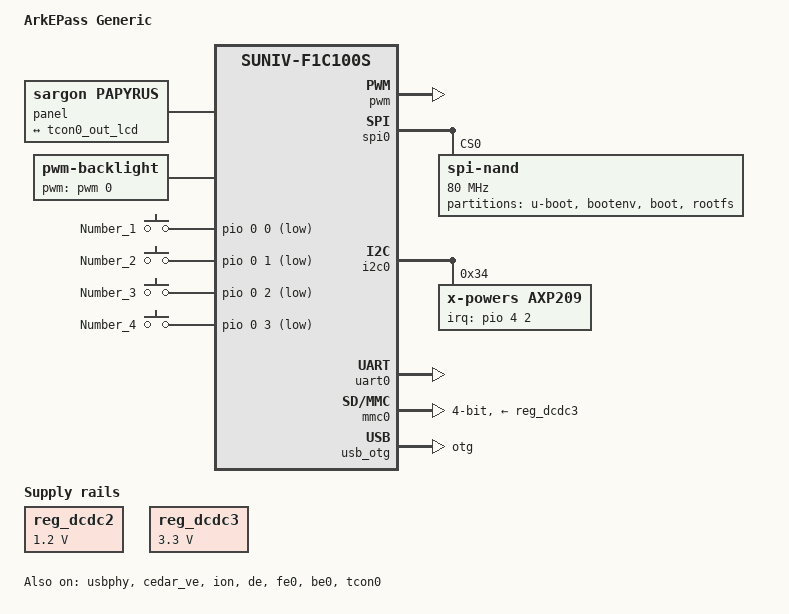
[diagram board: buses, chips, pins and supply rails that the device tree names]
// SPDX-License-Identifier: (GPL-2.0+ OR X11)

/dts-v1/;
#include "suniv-f1c100s.dtsi"
#include <dt-bindings/input/input.h>
#include <dt-bindings/gpio/gpio.h>
#include <dt-bindings/interrupt-controller/irq.h>
#include <dt-bindings/display/st7701initseq.h>

/ {
	model = "ArkEPass Generic";
	compatible = "rhodesisland,electric-pass",
	         "allwinner,suniv-f1c200s",
			 "allwinner,suniv-f1c100s";

	chosen {
		#address-cells = <1>;
		#size-cells = <1>;
		ranges;

		// this bootargs will not work. change bootargs in uboot!
		bootargs = "i luv papyrus";

	};

	panel: panel {
		compatible = "sargon,papyrus", "simple-panel";	// 720x1280 3.5 inch

		#address-cells = <1>;
		#size-cells = <0>;

		port@0 {
			reg = <0>;
			#address-cells = <1>;
			#size-cells = <0>;

			panel_input: endpoint@0 {
				reg = <0>;
				remote-endpoint = <&tcon0_out_lcd>;
			};
		};
	};

	backlight {
		compatible = "pwm-backlight";
		pwms = <&pwm 0 10000 0>;
		

		brightness-levels = <0 4 8 16 32 64 128 196 220 255>;
		default-brightness-level = <6>;
	};

	// reserved-memory {
    //       #address-cells = <1>;
    //       #size-cells = <1>;
    //       ranges;
	// 	  cedar_reserved: cedar_reserved@80100000 {
	// 			compatible = "shared-dma-pool";
	// 			reg = <0x80100000 0xc0000>;
	// 			no-map;
	// 		};
	// };

	st7701initseq: st7701initseq {
		compatible = "lattland,st7701-initseq";
		srgn,mipi-bridge-mode;
		sda-gpios = <&pio 4 4 GPIO_ACTIVE_HIGH>;
		scl-gpios = <&pio 4 6 GPIO_ACTIVE_HIGH>;
		cs-gpios = <&pio 4 3 GPIO_ACTIVE_HIGH>;
		rst-gpios = <&pio 4 11 GPIO_ACTIVE_HIGH>;
		status = "disabled";
	};

	buttons {
		compatible = "gpio-keys-polled";
		poll-interval = <100>;

		button-0 {
			label = "Number_1";
			linux,code = <KEY_1>;
			gpios = <&pio 0 0 GPIO_ACTIVE_LOW>;
		};

		button-1 {
			label = "Number_2";
			linux,code = <KEY_2>;
			gpios = <&pio 0 1 GPIO_ACTIVE_LOW>;
		};

		button-2 {
			label = "Number_3";
			linux,code = <KEY_3>;
			gpios = <&pio 0 2 GPIO_ACTIVE_LOW>;
		};

		button-3 {
			label = "Number_4";
			linux,code = <KEY_4>;
			gpios = <&pio 0 3 GPIO_ACTIVE_LOW>;
		};
	};
};

&pio{
	spi1_pins: spi1-pins {
		pins = "PE7","PE8", "PE9", "PE10";
		function = "spi1";
		bias-pull-up;
	};    
};

&pwm {
	pinctrl-names = "default";
	pinctrl-0 = <&pwm0_pe_pins>;
	status = "okay";
};

&spi0 {
	status = "okay";

	spi-nand@0 {
		#address-cells = <1>;
		#size-cells = <1>;
		compatible = "spi-nand";
		reg = <0>;
		spi-max-frequency = <80000000>;
		status = "okay";

		partitions {
			compatible = "fixed-partitions";
			#address-cells = <1>;
			#size-cells = <1>;

			partition@0 {
				label = "u-boot";
				reg = <0x000000 0x0e0000>;
				read-only;
			};

			partition@e0000 {
				label = "bootenv";
				reg = <0x0e0000 0x020000>;
			};

			partition@100000 {
				label = "boot";
				reg = <0x100000 0x600000>;
			};

			partition@700000 {
				label = "rootfs";
				reg = <0x700000 0x7900000>;
			};
		};
	};
};

&i2c0 {
	pinctrl-names = "default";
	pinctrl-0 = <&i2c0_pd_pins>;
	status = "okay";

	axp209: pmic@34 {
		compatible = "x-powers,axp209";
		reg = <0x34>;
		interrupt-parent = <&pio>;
		interrupts = <4 2 IRQ_TYPE_LEVEL_LOW>;
		interrupt-controller;
		#interrupt-cells = <1>;
	};
};

#include "axp209.dtsi"

&reg_dcdc2 {
	regulator-min-microvolt = <1200000>;
	regulator-max-microvolt = <1200000>;
	regulator-always-on;
};

&reg_dcdc3 {
	regulator-min-microvolt = <3300000>;
	regulator-max-microvolt = <3300000>;
	regulator-always-on;
};

&spi1 {
	pinctrl-names = "default";
	pinctrl-0 = <&spi1_pins>;
	status = "disabled";
	spidev@0 {
	   compatible = "rohm,dh2228fv";	/* Same as "spidev" but without errors at boot. Search "buggy DT" to understand */
	   spi-max-frequency = <80000000>;
	   reg = <0>;
	};
};

&uart0 {
	pinctrl-names = "default";
	pinctrl-0 = <&uart0_pe_pins>;
	status = "okay";
};

&mmc0 {	
	vmmc-supply = <&reg_dcdc3>;
	bus-width = <4>;
	status = "okay";
	broken-cd;
};

&otg_sram {
	status = "okay";
};

&usb_otg {
	dr_mode = "otg"; /* otg host peripheral */
	status = "okay";
};

&usbphy {
	status = "okay";
};

&cedar_ve {
	status = "okay";
};

&ion {
	status = "okay";
};

&de {
	status = "okay";
};

&fe0 {
	status = "okay";
};

&be0 {
	status = "okay";
};

&tve0 {
	status = "disabled";
};

&tcon0 {
	pinctrl-names = "default";
	pinctrl-0 = <&lcd_rgb565_pins>;
	status = "okay";
};

&tcon0_out {
	tcon0_out_lcd: endpoint@0 {
		reg = <0>;
		remote-endpoint = <&panel_input>;
	};
};
